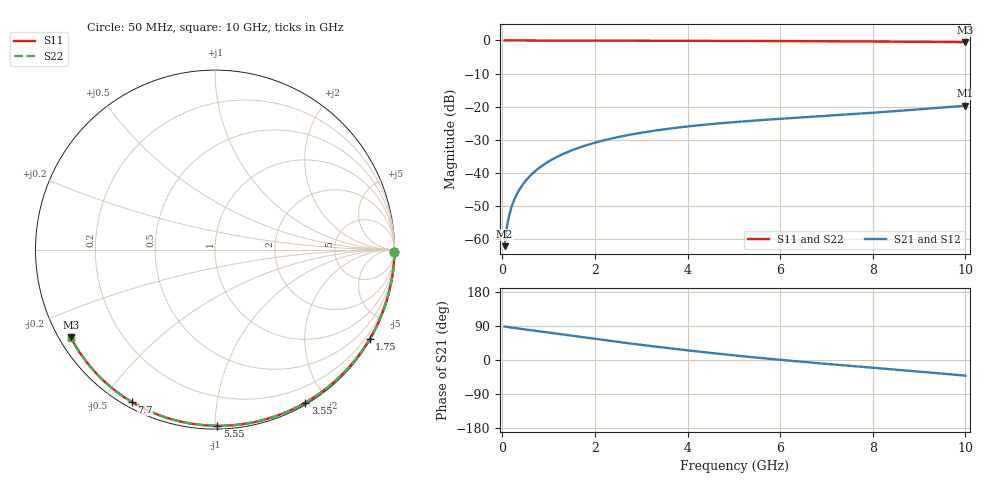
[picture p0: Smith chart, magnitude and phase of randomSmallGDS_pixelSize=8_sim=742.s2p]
! freq	dB(S11)	phase(S11)	dB(S12)	phase(S12)
!  dB(S21)	phase(S21)	dB(S22)	phase(S22)
!S-par simulation data
#  GHz  S  DB  R 50
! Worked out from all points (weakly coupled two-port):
!   200 points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, 50 MHz to 10 GHz, reference 50 ohm
!   highest |S21| = -19.73 dB at 10 GHz (marker M1); lowest = -62.2 dB at 50 MHz (marker M2)
!   lowest |S11| = -0.5 dB at 10 GHz (marker M3), VSWR 32.80, Z = 1.64 - j14 ohm
!   |S11| at or under -10 dB: nowhere
!   |S22| runs from -0.5 to 0.0 dB; largest |S21 - S12| = 0
!   S11 on the Smith chart (normalised r, x): 50 MHz: open; 1.75 GHz: 0.03, -3.72; 3.55 GHz: 0.02, -1.75; 5.55 GHz: 0.02, -1.01; 7.7 GHz: 0.02, -0.59; 10 GHz: 0.03, -0.28
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0.05  -0.00 -0.9  -62.23 88.5  -62.23 88.5  -0.00 -0.9
0.1  -0.00 -1.8  -56.28 87.2  -56.28 87.2  -0.00 -1.8
0.15  -0.00 -2.6  -52.82 86.3  -52.82 86.3  -0.00 -2.6
0.2  -0.00 -3.5  -50.37 85.5  -50.37 85.5  -0.00 -3.5
0.25  -0.00 -4.4  -48.47 84.7  -48.47 84.7  -0.00 -4.4
0.35  -0.00 -6.1  -45.59 83.1  -45.59 83.1  -0.00 -6.1
0.5  -0.01 -8.7  -42.53 80.7  -42.53 80.7  -0.01 -8.7
0.7  -0.01 -12.2  -39.65 77.4  -39.65 77.4  -0.01 -12.2
1  -0.02 -17.4  -36.62 72.4  -36.62 72.4  -0.02 -17.4
1.35  -0.03 -23.3  -34.11 66.5  -34.11 66.5  -0.03 -23.3
1.75  -0.04 -30.1  -31.99 59.9  -31.99 59.9  -0.04 -30.1
2.5  -0.06 -42.6  -29.23 47.7  -29.23 47.7  -0.06 -42.6
3.4  -0.08 -57.0  -27.06 34.0  -27.06 34.0  -0.08 -57.0
3.55  -0.09 -59.4  -26.78 31.9  -26.78 31.9  -0.09 -59.4
4.3  -0.11 -70.9  -25.58 21.4  -25.58 21.4  -0.11 -70.9
5.05  -0.14 -82.1  -24.65 11.7  -24.65 11.7  -0.14 -82.0
5.55  -0.16 -89.3  -24.13 5.7  -24.13 5.7  -0.16 -89.2
6.7  -0.22 -105.3  -23.06 -7.1  -23.06 -7.1  -0.22 -105.2
7.7  -0.29 -118.6  -22.15 -17.4  -22.15 -17.4  -0.29 -118.6
8.35  -0.34 -127.2  -21.51 -23.9  -21.51 -23.9  -0.34 -127.1
9.2  -0.43 -138.2  -20.62 -32.7  -20.62 -32.7  -0.43 -138.2
10  -0.53 -148.7  -19.73 -41.4  -19.73 -41.4  -0.53 -148.6
